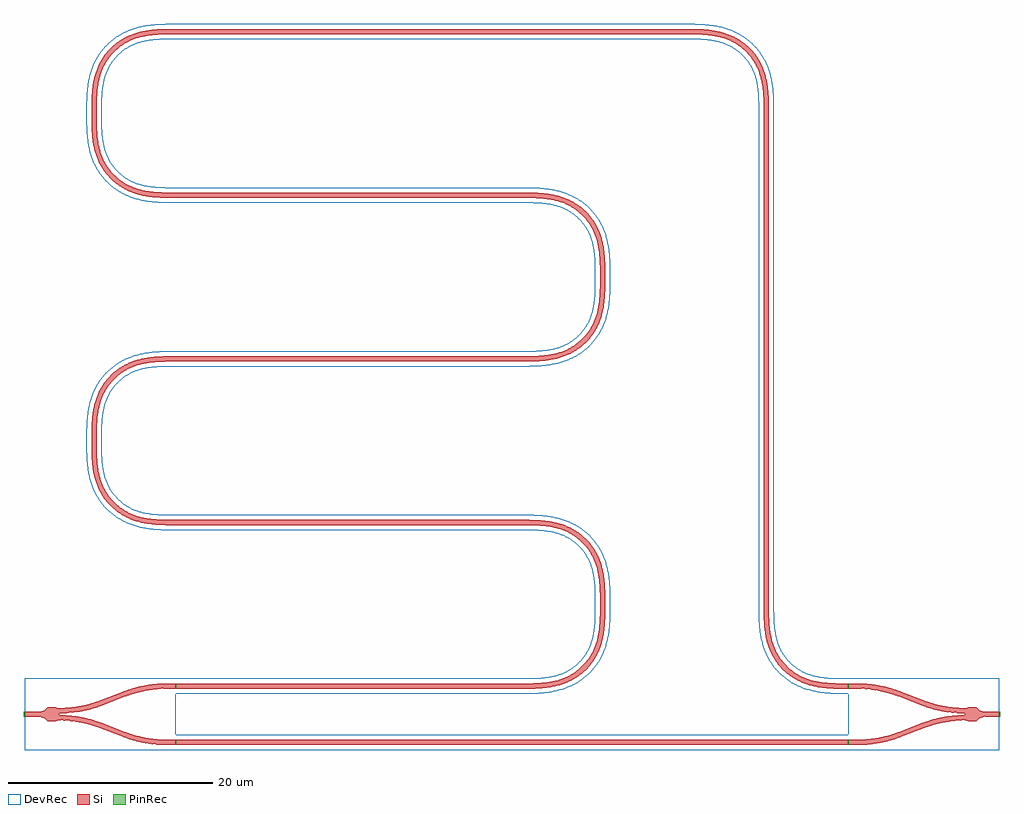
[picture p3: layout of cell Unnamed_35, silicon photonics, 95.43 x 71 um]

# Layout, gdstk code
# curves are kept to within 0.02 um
from math import pi, radians
import gdstk
lib = gdstk.Library(unit=1e-6, precision=1e-09)
def R(c, l, rs):  # rectangles x0, y0, x1, y1
    for r in rs: c.add(gdstk.rectangle(r[:2], r[2:], *l))
def P(c, l, *ps):  # polygons
    for p in ps: c.add(gdstk.Polygon(p, *l))
Si = (1, 0)
PinRec = (1, 10)
DevRec = (68, 0)

ebeam_y_1550 = lib.new_cell('ebeam_y_1550')
R(ebeam_y_1550, Si, [(6.5,-3,7.4,-2.5), (-7.4,-0.25,-6,0.25), (6.5,2.5,7.4,3)])
P(ebeam_y_1550, Si, [(6.458,-3),(6.237,-2.997),(6.237,-2.497),(6.5,-2.5),(6.5,-3)],
  [(5.033,-2.908),(4.288,-2.79),(3.59,-2.634),(2.922,-2.442),(2.265,-2.21),(2.445,-1.744),(3.075,-1.966),(3.731,-2.154),(5.033,-2.404)],
  [(6.233,-2.997),(5.033,-2.908),(5.033,-2.404),(6.237,-2.497)],
  [(2.265,-2.21),(0.055,-1.356),(0.235,-0.89),(2.445,-1.744)],
  [(-0.762,-1.076),(-1.532,-0.874),(-2.334,-0.724),(-3.178,-0.63),(-4,-0.6),(-4,-0.1),(-3.16,-0.13),(-2.381,-0.212),(-1.565,-0.355),(-0.762,-0.555)],
  [(0.055,-1.356),(-0.762,-1.076),(-0.762,-0.555),(0.235,-0.89)],
  [(6.237,2.497),(6.237,2.997),(6.5,3),(6.5,2.5)],
  [(2.445,1.744),(2.267,2.211),(2.922,2.442),(3.59,2.634),(4.288,2.79),(5.033,2.908),(5.033,2.404),(3.731,2.154),(3.075,1.966)],
  [(5.033,2.404),(5.033,2.908),(6.237,2.997),(6.237,2.497)],
  [(0.235,0.89),(0.055,1.356),(2.265,2.21),(2.445,1.744)],
  [(-4,0.1),(-4,0.6),(-3.178,0.63),(-2.334,0.724),(-1.532,0.874),(-0.762,1.076),(-0.762,0.555),(-1.565,0.355),(-2.381,0.212),(-3.16,0.13)],
  [(-0.762,0.555),(-0.762,1.076),(0.055,1.356),(0.235,0.89)],
  [(-5.122,-0.662),(-5.442,-0.374),(-5.808,-0.255),(-6,-0.25),(-6,0.25),(-5.817,0.253),(-5.442,0.374),(-5.122,0.662)],
  [(-4.957,-0.703),(-5.122,-0.662),(-5.122,0.662),(-4.978,0.702),(-4.538,0.703),(-4.167,0.6),(-4,0.6),(-4,-0.6),(-4.167,-0.6),(-4.509,-0.701)])
R(ebeam_y_1550, PinRec, [(7.35,-3,7.45,-2.5), (-7.45,-0.25,-7.35,0.25), (7.35,2.5,7.45,3)])
R(ebeam_y_1550, DevRec, [(-7.4,-3.5,7.4,3.5)])
ebeam_y_1550.add(gdstk.Label('Component=ebeam_y_1550', (-6,1.5), layer=68, texttype=0))
ebeam_y_1550.add(gdstk.Label('Lumerical_INTERCONNECT_library=Design kits/ebeam', (-6.86,-2.19), layer=68, texttype=0))
ebeam_y_1550.add(gdstk.Label('opt2', (7.4,2.75), layer=1, texttype=10))
ebeam_y_1550.add(gdstk.Label('opt3', (7.4,-2.75), layer=1, texttype=10))
ebeam_y_1550.add(gdstk.Label('opt1', (-7.4,0), layer=1, texttype=10))
ebeam_y_1550.add(gdstk.Label('Ref: Y Zhang, Opt. Express, 21/1, 2013', (-7.5,-1), layer=10, texttype=0))

straight_l65p728_csxs_b9 = lib.new_cell('straight_L65p728_CSxs_b9be42bc_WNone_N2')
R(straight_l65p728_csxs_b9, Si, [(0,-0.25,65.728,0.25)])
R(straight_l65p728_csxs_b9, DevRec, [(0,-0.75,65.728,0.75)])

bend_euler_r8_a90_p0p5_w = lib.new_cell('bend_euler_R8_A90_P0p5_W0p5_CSxs_b9be42bc_AMRVFalse')
P(bend_euler_r8_a90_p0p5_w, Si, [(0,-0.25),(0,0.25),(1.513,0.273),(2.461,0.351),(3.387,0.519),(4.15,0.756),(4.752,1.032),(5.206,1.304),(5.632,1.62),(6.024,1.976),(6.38,2.368),(6.696,2.794),(6.968,3.248),(7.244,3.85),(7.481,4.613),(7.649,5.539),(7.727,6.487),(7.75,8),(8.25,8),(8.237,6.745),(8.176,5.759),(8.083,5.055),(7.893,4.217),(7.657,3.536),(7.339,2.886),(6.945,2.279),(6.378,1.622),(5.721,1.055),(5.114,0.661),(4.464,0.343),(3.783,0.107),(2.945,-0.083),(2.241,-0.176),(1.255,-0.237)])
P(bend_euler_r8_a90_p0p5_w, DevRec, [(0,-0.75),(0,0.75),(1.091,0.759),(2.013,0.807),(2.777,0.903),(3.507,1.068),(4.081,1.267),(4.725,1.591),(5.221,1.931),(5.671,2.329),(6.069,2.779),(6.409,3.275),(6.733,3.919),(6.932,4.493),(7.097,5.223),(7.193,5.987),(7.241,6.909),(7.25,8),(8.75,8),(8.737,6.729),(8.674,5.71),(8.549,4.822),(8.33,3.931),(8.057,3.2),(7.695,2.503),(7.251,1.856),(6.732,1.268),(6.144,0.749),(5.497,0.305),(4.8,-0.057),(4.069,-0.33),(3.178,-0.549),(2.29,-0.674),(1.271,-0.737)])

straight_l33p728_csxs_b9 = lib.new_cell('straight_L33p728_CSxs_b9be42bc_WNone_N2')
R(straight_l33p728_csxs_b9, Si, [(0,-0.25,33.728,0.25)])
R(straight_l33p728_csxs_b9, DevRec, [(0,-0.75,33.728,0.75)])

straight_l49p728_csxs_b9 = lib.new_cell('straight_L49p728_CSxs_b9be42bc_WNone_N2')
R(straight_l49p728_csxs_b9, Si, [(0,-0.25,49.728,0.25)])
R(straight_l49p728_csxs_b9, DevRec, [(0,-0.75,49.728,0.75)])

straight_l48_csxs_b9be42 = lib.new_cell('straight_L48_CSxs_b9be42bc_WNone_N2')
R(straight_l48_csxs_b9be42, Si, [(0,-0.25,48,0.25)])
R(straight_l48_csxs_b9be42, DevRec, [(0,-0.75,48,0.75)])

unnamed_35 = lib.new_cell('Unnamed_35')
unnamed_35.add(gdstk.Reference(ebeam_y_1550, (0,0)))
unnamed_35.add(gdstk.Reference(ebeam_y_1550, (80.528,0), rotation=pi))
unnamed_35.add(gdstk.Reference(straight_l65p728_csxs_b9, (7.4,-2.75)))
unnamed_35.add(gdstk.Reference(bend_euler_r8_a90_p0p5_w, (49.128,10.75), rotation=3*pi/2, x_reflection=True))
unnamed_35.add(gdstk.Reference(straight_l33p728_csxs_b9, (7.4,2.75)))
unnamed_35.add(gdstk.Reference(bend_euler_r8_a90_p0p5_w, (41.128,18.75), x_reflection=True))
unnamed_35.add(gdstk.Reference(bend_euler_r8_a90_p0p5_w, (-0.6,26.75), rotation=3*pi/2))
unnamed_35.add(gdstk.Reference(straight_l33p728_csxs_b9, (41.128,18.75), rotation=pi))
unnamed_35.add(gdstk.Reference(bend_euler_r8_a90_p0p5_w, (7.4,34.75), rotation=pi))
unnamed_35.add(gdstk.Reference(bend_euler_r8_a90_p0p5_w, (49.128,42.75), rotation=3*pi/2, x_reflection=True))
unnamed_35.add(gdstk.Reference(straight_l33p728_csxs_b9, (7.4,34.75)))
unnamed_35.add(gdstk.Reference(bend_euler_r8_a90_p0p5_w, (41.128,50.75), x_reflection=True))
unnamed_35.add(gdstk.Reference(bend_euler_r8_a90_p0p5_w, (-0.6,58.75), rotation=3*pi/2))
unnamed_35.add(gdstk.Reference(straight_l33p728_csxs_b9, (41.128,50.75), rotation=pi))
unnamed_35.add(gdstk.Reference(bend_euler_r8_a90_p0p5_w, (7.4,66.75), rotation=pi))
unnamed_35.add(gdstk.Reference(bend_euler_r8_a90_p0p5_w, (65.128,58.75), rotation=pi/2))
unnamed_35.add(gdstk.Reference(straight_l49p728_csxs_b9, (7.4,66.75)))
unnamed_35.add(gdstk.Reference(bend_euler_r8_a90_p0p5_w, (73.128,2.75), rotation=pi, x_reflection=True))
unnamed_35.add(gdstk.Reference(straight_l48_csxs_b9be42, (65.128,58.75), rotation=3*pi/2))

lib.write_gds('Unnamed_35.gds')
